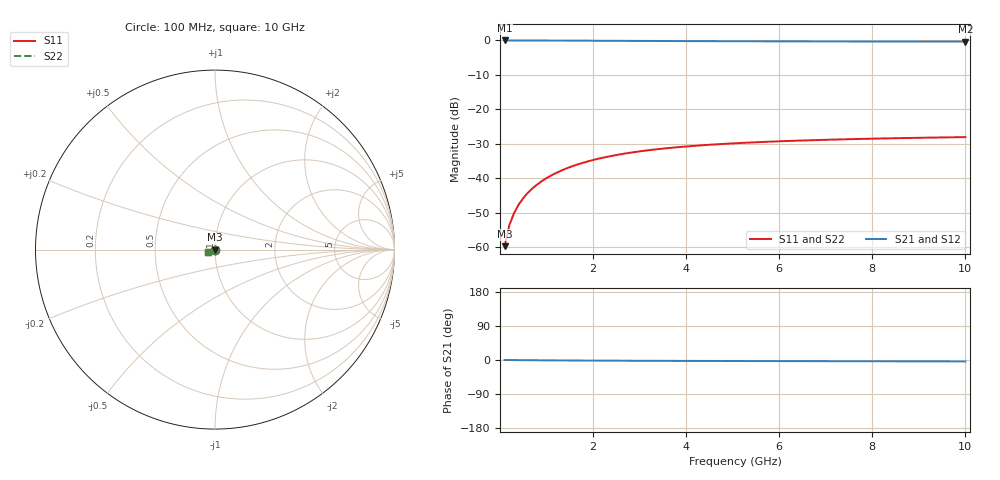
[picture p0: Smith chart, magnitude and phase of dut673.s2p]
! Touchstone file exported from HFSS 2024.1.0
!  File:  C:/UserFiles/LocalFiles/RDL_TSV_Batchsim/temp_TSV1_673_1779794274.aedt
!  Generated:  07:24:09 PM May 26, 2026
!  Design:  TSV1
!  Project:  temp_TSV1_673_1779794274
!  Setup:  Setup1
!  Solution:  Sweep
! Variables:
!  dtsv = 11.39um
!  hbump = 3um
!  htsv = 56.65um
!  lrdl = 252.1521522um
!  p = 40
!  p1 = 42.15um
!  t = 500um
!  trdl = 3um
!  wrdl = 24.89489489um
# GHz S MA R 50.000000
! Terminal data exported
! Port[1] = TSV22_T1
! Port[2] = TSV22_T2
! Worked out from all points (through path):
!   100 points, 100 MHz to 10 GHz, reference 50 ohm
!   highest |S21| = 0.00 dB at 100 MHz (marker M1); lowest = -0.3 dB at 10 GHz (marker M2)
!   lowest |S11| = -59.7 dB at 100 MHz (marker M3), VSWR 1.00, Z = 50 - j0.103 ohm
!   |S11| at or under -10 dB: start of sweep to end of sweep
!   |S22| runs from -59.7 to -28.1 dB; largest |S21 - S12| = 4.2e-15
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0.1  0.001032 -86.3  0.9999 -0.1  0.9999 -0.1  0.001032 -86.3
! Gamma 0 0 0 0
! Port Impedance 50 0 50 0
0.2  0.002061 -90.6  0.9998 -0.2  0.9998 -0.2  0.002061 -90.6
0.3  0.003091 -93.0  0.9996 -0.3  0.9996 -0.3  0.003091 -93.0
0.4  0.004117 -95.0  0.9994 -0.4  0.9994 -0.4  0.004117 -95.0
0.5  0.005135 -96.7  0.9992 -0.5  0.9992 -0.5  0.005135 -96.7
0.6  0.006142 -98.3  0.9989 -0.5  0.9989 -0.5  0.006142 -98.3
0.7  0.007137 -99.9  0.9985 -0.6  0.9985 -0.6  0.007137 -99.9
0.8  0.008118 -101.4  0.9981 -0.7  0.9981 -0.7  0.008118 -101.4
0.9  0.009083 -102.9  0.9977 -0.8  0.9977 -0.8  0.009083 -102.9
1.1  0.01096 -105.8  0.9967 -1.0  0.9967 -1.0  0.01096 -105.8
1.4  0.01363 -110.0  0.995 -1.2  0.995 -1.2  0.01363 -110.0
1.6  0.0153 -112.6  0.9938 -1.3  0.9938 -1.3  0.0153 -112.6
1.8  0.01688 -115.1  0.9925 -1.4  0.9925 -1.4  0.01688 -115.1
2.1  0.01909 -118.7  0.9905 -1.6  0.9905 -1.6  0.01909 -118.7
2.5  0.02171 -123.1  0.9878 -1.8  0.9878 -1.8  0.02171 -123.1
2.9  0.02401 -127.1  0.9853 -2.0  0.9853 -2.0  0.02401 -127.1
3.4  0.02646 -131.5  0.9822 -2.2  0.9822 -2.2  0.02646 -131.5
4.2  0.02961 -137.6  0.9779 -2.4  0.9779 -2.4  0.02961 -137.6
5.1  0.0323 -143.1  0.9739 -2.7  0.9739 -2.7  0.0323 -143.1
6.7  0.03564 -150.7  0.9685 -3.1  0.9685 -3.1  0.03564 -150.7
8.4  0.03799 -156.8  0.9645 -3.4  0.9645 -3.4  0.03799 -156.8
10  0.03953 -161.4  0.9619 -3.8  0.9619 -3.8  0.03953 -161.4
